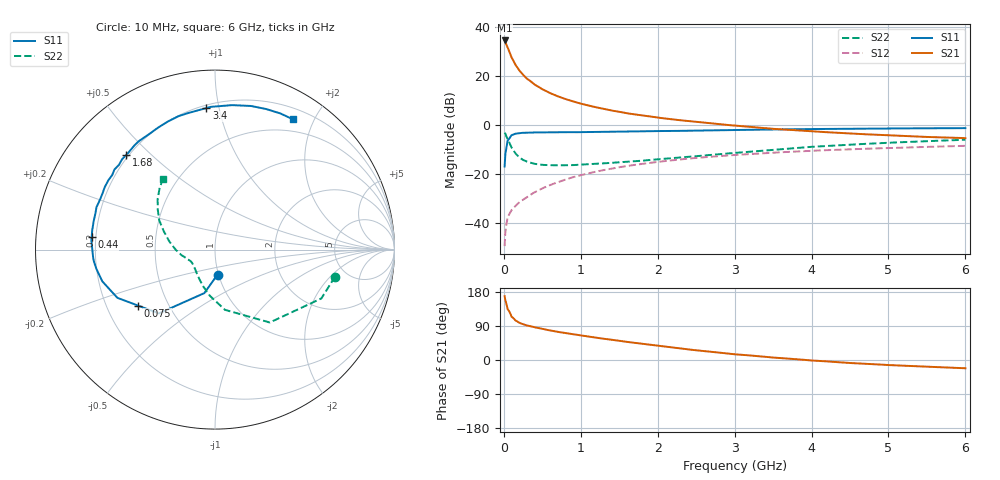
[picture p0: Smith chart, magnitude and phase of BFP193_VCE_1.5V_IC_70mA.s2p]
! Infineon Technologies  Discrete & RF Semiconductors
! BFP193
! VCE = 1.5 V,  IC =  70 mA
! Common Emitter S-Parameters:  Jan 2016
# GHz  S  MA  R  50
!  f  S11  S21  S12  S22
! GHz  MAG  ANG  MAG  ANG  MAG  ANG  MAG  ANG
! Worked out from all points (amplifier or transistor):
!   210 points, 10 MHz to 6 GHz, reference 50 ohm
!   highest |S21| = 34.3 dB at 10 MHz (marker M1)
!   |S21| within 3 dB of that: start of sweep to 50.84 MHz
!   unconditionally stable (mu >= 1): start of sweep to 16.99 MHz; 253.5 MHz to end of sweep
!   at 185 MHz: K = 0.89, MSG = 27.5 dB, |S12| = -32.2 dB
!   at 1.52 GHz: K = 1.17, MAG = 8.7 dB, |S12| = -17.3 dB
!   at 6 GHz: K = 1.03, MAG = 0.6 dB, |S12| = -8.7 dB
!   S11 on the Smith chart (normalised r, x): 10 MHz: 0.99, -0.28; 75 MHz: 0.34, -0.29; 440 MHz: 0.18, +0.05; 1.68 GHz: 0.19, +0.42; 3.4 GHz: 0.22, +0.92; 6 GHz: 0.34, +1.71
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0.01  0.1395 -84.1  52.04 168.5  0.0033 73.1  0.686 -12.7
0.02  0.2497 -103.8  48.48 157.1  0.0064 67.1  0.6518 -24.7
0.05  0.4731 -131.3  37.09 134.0  0.0128 57.3  0.508 -53.1
0.075  0.5297 -143.9  29.88 126.4  0.0153 54.6  0.4124 -64.1
0.1  0.6066 -153.7  23.5 114.4  0.0179 52.6  0.3402 -80.6
0.15  0.6524 -164.3  16.63 104.4  0.0217 53.9  0.2583 -96.5
0.2  0.6693 -170.7  12.79 98.3  0.0258 56.5  0.2157 -107.6
0.26  0.68 -175.7  9.968 93.7  0.03 59.4  0.1867 -117.7
0.3  0.6816 -178.3  8.652 91.1  0.033 61.4  0.1758 -122.7
0.4  0.6907 175.9  6.556 86.2  0.0415 63.7  0.1581 -132.8
0.44  0.6909 174.2  6.034 84.8  0.0448 64.4  0.1548 -135.5
0.5  0.6924 171.7  5.259 82.1  0.0497 65.2  0.1506 -139.7
0.58  0.6935 168.3  4.563 78.9  0.0564 65.9  0.1486 -143.4
0.7  0.6953 163.8  3.78 74.2  0.0665 65.9  0.1475 -148.1
1.02  0.7014 152.8  2.627 64.3  0.0941 63.9  0.1526 -156.0
1.68  0.7224 133.3  1.628 45.7  0.1487 56.0  0.1776 -167.2
2.02  0.7382 124.7  1.376 37.2  0.1746 51.1  0.1961 -173.1
3.1  0.7778 99.2  0.924 13.6  0.2447 36.0  0.2715 166.6
3.4  0.7899 93.5  0.844 8.4  0.2616 32.2  0.2965 161.4
4.1  0.8122 81.8  0.713 -2.4  0.2964 23.2  0.3586 150.6
5.1  0.8344 68.9  0.594 -14.1  0.3358 11.7  0.4321 137.3
6  0.8459 59.1  0.529 -21.8  0.368 1.6  0.49 126.4
